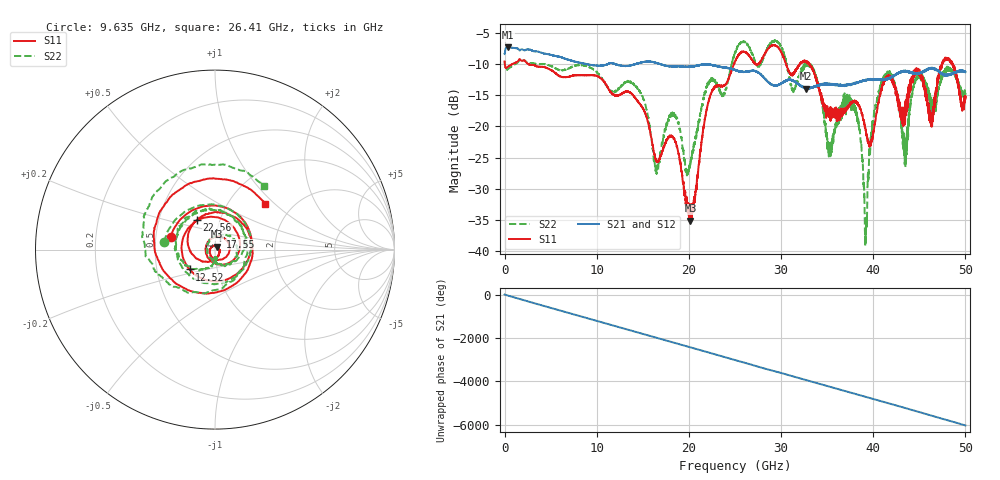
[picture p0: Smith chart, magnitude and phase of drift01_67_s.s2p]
!Created with skrf (http://scikit-rf.org).
# Hz S RI R 50.0
!freq ReS11 ImS11 ReS21 ImS21 ReS12 ImS12 ReS22 ImS22
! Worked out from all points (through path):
!   10001 points, 300 kHz to 50 GHz, reference 50 ohm
!   highest |S21| = -7.33 dB at 325.3 MHz (marker M1); lowest = -13.9 dB at 32.74 GHz (marker M2)
!   group delay of S21, straight-line fit = 335 ps
!   lowest |S11| = -35.1 dB at 20.16 GHz (marker M3), VSWR 1.04, Z = 50.8 + j1.57 ohm
!   |S11| at or under -10 dB: 2.567 GHz to 24.9 GHz (22.33 GHz wide, 163 % of centre); 30.53 GHz to 32.03 GHz (1.498 GHz wide, 4.79 % of centre); 33.08 GHz to 47.45 GHz (14.38 GHz wide, 35.7 % of centre) (the widest 3 of 17)
!   |S22| runs from -39.2 to -6.2 dB; largest |S21 - S12| = 0.0098
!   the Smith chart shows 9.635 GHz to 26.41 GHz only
!   S11 on the Smith chart (normalised r, x): 9.635 GHz: 0.60, +0.09; 12.52 GHz: 0.74, -0.17; 17.55 GHz: 1.04, +0.15; 22.56 GHz: 0.78, +0.27; 26.41 GHz: 1.48, +0.87
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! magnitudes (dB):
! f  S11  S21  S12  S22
! 300 kHz  -9.6  -8.4  -8.5  -9.5
! 325.3 MHz  -10.5  -7.3  -7.3  -10.9
! 8.335 GHz  -11.8  -9.8  -9.8  -10.2
! 9.635 GHz  -11.8  -10.2  -10.2  -10.9
! 12.52 GHz  -14.9  -10.2  -10.3  -13.6
! 16.67 GHz  -25.7  -9.9  -9.9  -26.7
! 17.55 GHz  -22.3  -10.3  -10.3  -19.6
! 20.16 GHz  -35.1  -10.4  -10.4  -25.9
! 22.56 GHz  -14.3  -10.2  -10.2  -12.3
! 25 GHz  -9.6  -11.0  -11.0  -8.3
! 26.41 GHz  -8.5  -11.2  -11.2  -6.9
! 32.74 GHz  -9.6  -13.9  -13.9  -10.0
! 33.34 GHz  -10.7  -13.8  -13.7  -10.6
! 35.27 GHz  -18.0  -13.2  -13.2  -23.0
! 37.97 GHz  -16.0  -13.2  -13.2  -17.6
! 39.17 GHz  -20.4  -12.6  -12.6  -38.7
! 40.11 GHz  -20.1  -12.5  -12.4  -17.8
! 41.67 GHz  -11.8  -12.3  -12.3  -12.2
! 43.43 GHz  -18.2  -11.2  -11.2  -23.4
! 44.89 GHz  -11.3  -11.5  -11.5  -11.9
! 46.25 GHz  -19.0  -10.7  -10.7  -15.4
! 50 GHz  -15.3  -11.3  -11.3  -15.0
